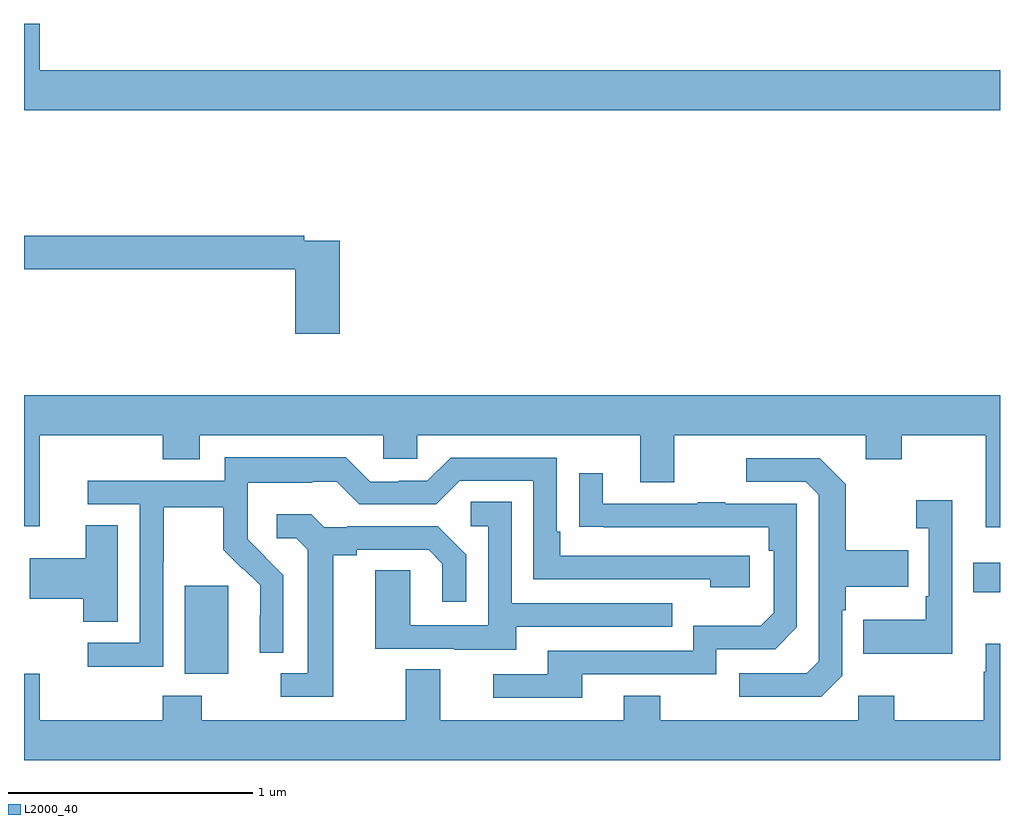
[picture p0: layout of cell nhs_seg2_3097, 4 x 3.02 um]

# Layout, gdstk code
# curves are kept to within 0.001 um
import gdstk
lib = gdstk.Library(unit=1e-6, precision=1e-09)
def R(c, l, rs):  # rectangles x0, y0, x1, y1
    for r in rs: c.add(gdstk.rectangle(r[:2], r[2:], *l))
def P(c, l, *ps):  # polygons
    for p in ps: c.add(gdstk.Polygon(p, *l))
L2000_40 = (2000, 40)

nhs_seg2_3097 = lib.new_cell('nhs_seg2_3097')
R(nhs_seg2_3097, L2000_40, [(273.659,662.642,273.838,663.003), (276.891,662.975,277,663.097)])
P(nhs_seg2_3097, L2000_40, [(277,665.116),(273.064,665.116),(273.064,665.305),(273,665.305),(273,664.952),(277,664.952)],
  [(274.295,664.416),(274.148,664.416),(274.148,664.436),(273,664.436),(273,664.3),(274.112,664.3),(274.112,664.035),(274.295,664.035)],
  [(277,663.784),(273,663.784),(273,663.246),(273.064,663.246),(273.064,663.62),(273.569,663.62),(273.569,663.521),(273.721,663.521),(273.721,663.62),(274.473,663.62),(274.473,663.522),(274.611,663.522),(274.611,663.62),(275.525,663.62),(275.525,663.426),(275.665,663.426),(275.665,663.62),(276.449,663.62),(276.449,663.521),(276.597,663.521),(276.597,663.62),(276.941,663.62),(276.941,663.243),(277,663.243)],
  [(273.57,663.1),(273.573,663.1),(273.573,663.324),(273.817,663.324),(273.817,663.149),(273.894,663.072),(273.897,663.075),(273.968,663.005),(273.968,662.882),(273.966,662.882),(273.966,662.728),(274.062,662.728),(274.062,663.046),(273.916,663.194),(273.916,663.291),(273.918,663.291),(273.918,663.425),(274.181,663.425),(274.181,663.429),(274.281,663.429),(274.374,663.336),(274.689,663.336),(274.785,663.432),(275.088,663.432),(275.088,663.03),(275.813,663.03),(275.813,662.996),(275.974,662.996),(275.974,663.126),(275.197,663.126),(275.197,663.223),(275.184,663.223),(275.184,663.528),(274.749,663.528),(274.653,663.432),(274.535,663.432),(274.535,663.429),(274.419,663.429),(274.319,663.529),(273.822,663.529),(273.822,663.432),(273.261,663.432),(273.261,663.336),(273.474,663.336),(273.474,662.769),(273.261,662.769),(273.261,662.671),(273.57,662.671)],
  [(276.354,662.634),(276.354,662.903),(276.367,662.903),(276.367,662.999),(276.623,662.999),(276.623,663.147),(276.367,663.147),(276.367,663.419),(276.261,663.525),(275.961,663.525),(275.961,663.429),(276.204,663.429),(276.258,663.375),(276.258,662.694),(276.207,662.643),(275.931,662.643),(275.931,662.547),(276.267,662.547)],
  [(275.287,662.64),(275.838,662.64),(275.838,662.742),(276.078,662.742),(276.168,662.832),(276.168,663.339),(275.873,663.339),(275.873,663.344),(275.761,663.344),(275.761,663.339),(275.371,663.339),(275.371,663.463),(275.275,663.463),(275.275,663.244),(276.052,663.243),(276.052,663.146),(276.072,663.146),(276.072,662.892),(276.019,662.839),(275.742,662.839),(275.742,662.736),(275.147,662.736),(275.147,662.64),(274.923,662.64),(274.923,662.544),(275.287,662.544)],
  [(276.804,663.352),(276.657,663.352),(276.657,663.239),(276.708,663.239),(276.708,662.959),(276.696,662.959),(276.696,662.863),(276.439,662.863),(276.439,662.723),(276.804,662.723)],
  [(275.017,662.835),(275.657,662.835),(275.657,662.931),(274.998,662.931),(274.998,663.347),(274.83,663.347),(274.83,663.246),(274.902,663.246),(274.902,662.841),(274.584,662.841),(274.584,663.065),(274.439,663.065),(274.439,662.745),(274.763,662.745),(274.763,662.741),(275.017,662.741)],
  [(274.267,663.128),(274.363,663.128),(274.363,663.15),(274.658,663.15),(274.715,663.093),(274.715,662.937),(274.812,662.937),(274.812,663.13),(274.696,663.246),(274.324,663.246),(274.324,663.243),(274.23,663.243),(274.178,663.295),(274.035,663.295),(274.035,663.198),(274.116,663.198),(274.163,663.151),(274.163,662.643),(274.053,662.643),(274.053,662.547),(274.267,662.547)],
  [(273.385,663.251),(273.254,663.251),(273.254,663.115),(273.024,663.115),(273.024,662.95),(273.242,662.95),(273.242,662.854),(273.385,662.854)],
  [(277,662.764),(276.941,662.764),(276.941,662.651),(276.934,662.651),(276.934,662.452),(276.567,662.452),(276.567,662.551),(276.42,662.551),(276.42,662.452),(275.607,662.452),(275.607,662.551),(275.459,662.551),(275.459,662.452),(274.705,662.452),(274.705,662.66),(274.565,662.66),(274.565,662.452),(273.729,662.452),(273.729,662.551),(273.569,662.551),(273.569,662.452),(273.064,662.452),(273.064,662.641),(273,662.641),(273,662.288),(277,662.288)])

lib.write_gds('nhs_seg2_3097.gds')
